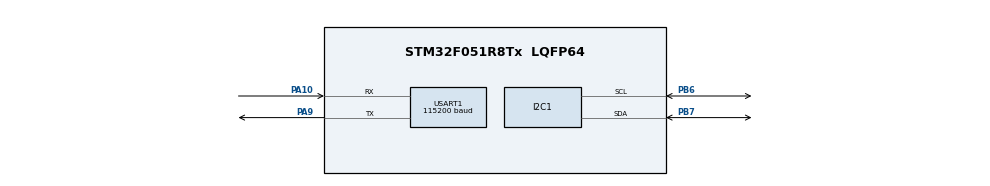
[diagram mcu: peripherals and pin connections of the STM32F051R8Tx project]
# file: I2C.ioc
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Mcu.Family=STM32F0
Mcu.Name=STM32F051R8Tx
Mcu.Package=LQFP64
PA10.Mode=Asynchronous
PA10.Signal=USART1_RX
PA13.Mode=Serial_Wire
PA13.Signal=SYS_SWDIO
PA14.Mode=Serial_Wire
PA14.Signal=SYS_SWCLK
PA9.Mode=Asynchronous
PA9.Signal=USART1_TX
PB6.Mode=I2C
PB6.Signal=I2C1_SCL
PB7.Mode=I2C
PB7.Signal=I2C1_SDA
ProjectManager.HeapSize=0x200
ProjectManager.StackSize=0x400
ProjectManager.TargetToolchain=STM32CubeIDE
USART1.BaudRate=115200
USART1.VirtualMode-Asynchronous=VM_ASYNC
board=custom

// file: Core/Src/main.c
/* USER CODE BEGIN Header */
/**
  ******************************************************************************
  * @file           : main.c
  * @brief          : Main program body
  ******************************************************************************
  * @attention
  *
  * Copyright (c) 2024 STMicroelectronics.
  * All rights reserved.
  *
  * This software is licensed under terms that can be found in the LICENSE file
  * in the root directory of this software component.
  * If no LICENSE file comes with this software, it is provided AS-IS.
  *
  ******************************************************************************
  */
/* USER CODE END Header */
#include "main.h"
#include "string.h"
#include <stdio.h>

I2C_HandleTypeDef hi2c1;

UART_HandleTypeDef huart1;

/* USER CODE BEGIN PV */
static const uint8_t ADT_ADDR1 = 0x48 << 1;
static const uint8_t ADT_ADDR2 = 0x49 << 1;
static const uint8_t ADT_ADDR3 = 0x4A << 1;
static const uint8_t ADT_ADDR4 = 0x4B << 1;
static const uint8_t REG_TEMP = 0x00;
/* USER CODE END PV */

void SystemClock_Config(void);
static void MX_GPIO_Init(void);
static void MX_I2C1_Init(void);
static void MX_USART1_UART_Init(void);

int main(void)
{
  /* USER CODE BEGIN 1 */
	HAL_StatusTypeDef ret;
	uint8_t buf1[48];
	uint8_t buf2[48];
	uint8_t buf3[48];
	uint8_t buf4[48];
	int16_t val;
	float temp_c;
  /* USER CODE END 1 */

  /* MCU Configuration--------------------------------------------------------*/

  /* Reset of all peripherals, Initializes the Flash interface and the Systick. */
  HAL_Init();

  /* Configure the system clock */
  SystemClock_Config();

  /* Initialize all configured peripherals */
  MX_GPIO_Init();
  MX_I2C1_Init();
  MX_USART1_UART_Init();

  /* Infinite loop */
  /* USER CODE BEGIN WHILE */
  while (1)
  {
	  /* SENSOR 1 CODE */
	  buf1[0] = REG_TEMP;
	  ret = HAL_I2C_Master_Transmit(&hi2c1, ADT_ADDR1, buf1, 1, HAL_MAX_DELAY);
	  if (ret != HAL_OK) {
		  strcpy((char*)buf1, "Error Tx\r\n");
	  } else {
		  ret = HAL_I2C_Master_Receive(&hi2c1, ADT_ADDR1, buf1, 2, HAL_MAX_DELAY);
		  if (ret != HAL_OK) {
		  		  strcpy((char*)buf1, "Error Rx\r\n");
		  } else {
			  val = ((int16_t)buf1[0] << 4 | buf1[1] >> 4);

			  if (val > 0x7FF) {
				  val |= 0xF000;
			  }

			  temp_c = val * 0.0625;

			  temp_c *= 100;
			  sprintf((char*)buf1, "ADT7410 Readings\r\n | 1: %u.%02uC |\r\n",
					  ((unsigned int)temp_c / 100),
					  ((unsigned int)temp_c %100));
		  }
	  }

	  /* SENSOR 2 CODE */
	  buf2[0] = REG_TEMP;
	  ret = HAL_I2C_Master_Transmit(&hi2c1, ADT_ADDR2, buf2, 1, HAL_MAX_DELAY);
	  if (ret != HAL_OK) {
		  strcpy((char*)buf2, "Error Tx\r\n");
	  } else {
		  ret = HAL_I2C_Master_Receive(&hi2c1, ADT_ADDR2, buf2, 2, HAL_MAX_DELAY);
		  if (ret != HAL_OK) {
				  strcpy((char*)buf2, "Error Rx\r\n");
		  } else {
			  val = ((int16_t)buf2[0] << 4 | buf2[1] >> 4);

			  if (val > 0x7FF) {
				  val |= 0xF000;
			  }

			  temp_c = val * 0.0625;

			  temp_c *= 100;
			  sprintf((char*)buf2, " | 2: %u.%02uC |\r\n",
					  ((unsigned int)temp_c / 100),
					  ((unsigned int)temp_c %100));
		  }
	  }

	  /* SENSOR 3 CODE */
	  buf3[0] = REG_TEMP;
	  ret = HAL_I2C_Master_Transmit(&hi2c1, ADT_ADDR3, buf3, 1, HAL_MAX_DELAY);
	  if (ret != HAL_OK) {
		  strcpy((char*)buf3, "Error Tx\r\n");
	  } else {
		  ret = HAL_I2C_Master_Receive(&hi2c1, ADT_ADDR3, buf3, 2, HAL_MAX_DELAY);
		  if (ret != HAL_OK) {
				  strcpy((char*)buf3, "Error Rx\r\n");
		  } else {
			  val = ((int16_t)buf3[0] << 4 | buf3[1] >> 4);

			  if (val > 0x7FF) {
				  val |= 0xF000;
			  }

			  temp_c = val * 0.0625;

			  temp_c *= 100;
			  sprintf((char*)buf3, " | 3: %u.%02uC |\r\n",
					  ((unsigned int)temp_c / 100),
					  ((unsigned int)temp_c %100));
		  }
	  }

	  /* SENSOR 4 CODE */
	  buf4[0] = REG_TEMP;
	  ret = HAL_I2C_Master_Transmit(&hi2c1, ADT_ADDR4, buf4, 1, HAL_MAX_DELAY);
	  if (ret != HAL_OK) {
		  strcpy((char*)buf4, "Error Tx\r\n");
	  } else {
		  ret = HAL_I2C_Master_Receive(&hi2c1, ADT_ADDR4, buf4, 2, HAL_MAX_DELAY);
		  if (ret != HAL_OK) {
				  strcpy((char*)buf4, "Error Rx\r\n");
		  } else {
			  val = ((int16_t)buf4[0] << 4 | buf4[1] >> 4);

			  if (val > 0x7FF) {
				  val |= 0xF000;
			  }

			  temp_c = val * 0.0625;

			  temp_c *= 100;
			  sprintf((char*)buf4, " | 4: %u.%02uC |\r\n\r\n",
					  ((unsigned int)temp_c / 100),
					  ((unsigned int)temp_c %100));
		  }
	  }

    /* USER CODE END WHILE */

    /* USER CODE BEGIN 3 */
	  HAL_UART_Transmit(&huart1, buf1, strlen((char*)buf1), HAL_MAX_DELAY);
	  HAL_UART_Transmit(&huart1, buf2, strlen((char*)buf2), HAL_MAX_DELAY);
	  HAL_UART_Transmit(&huart1, buf3, strlen((char*)buf3), HAL_MAX_DELAY);
	  HAL_UART_Transmit(&huart1, buf4, strlen((char*)buf4), HAL_MAX_DELAY);
	  HAL_Delay(500);
  }
  /* USER CODE END 3 */
}

void SystemClock_Config(void)
{
  RCC_OscInitTypeDef RCC_OscInitStruct = {0};
  RCC_ClkInitTypeDef RCC_ClkInitStruct = {0};
  RCC_PeriphCLKInitTypeDef PeriphClkInit = {0};

  /** Initializes the RCC Oscillators according to the specified parameters
  * in the RCC_OscInitTypeDef structure.
  */
  RCC_OscInitStruct.OscillatorType = RCC_OSCILLATORTYPE_HSI;
  RCC_OscInitStruct.HSIState = RCC_HSI_ON;
  RCC_OscInitStruct.HSICalibrationValue = RCC_HSICALIBRATION_DEFAULT;
  RCC_OscInitStruct.PLL.PLLState = RCC_PLL_NONE;
  if (HAL_RCC_OscConfig(&RCC_OscInitStruct) != HAL_OK)
  {
    Error_Handler();
  }

  /** Initializes the CPU, AHB and APB buses clocks
  */
  RCC_ClkInitStruct.ClockType = RCC_CLOCKTYPE_HCLK|RCC_CLOCKTYPE_SYSCLK
                              |RCC_CLOCKTYPE_PCLK1;
  RCC_ClkInitStruct.SYSCLKSource = RCC_SYSCLKSOURCE_HSI;
  RCC_ClkInitStruct.AHBCLKDivider = RCC_SYSCLK_DIV1;
  RCC_ClkInitStruct.APB1CLKDivider = RCC_HCLK_DIV1;

  if (HAL_RCC_ClockConfig(&RCC_ClkInitStruct, FLASH_LATENCY_0) != HAL_OK)
  {
    Error_Handler();
  }
  PeriphClkInit.PeriphClockSelection = RCC_PERIPHCLK_USART1|RCC_PERIPHCLK_I2C1;
  PeriphClkInit.Usart1ClockSelection = RCC_USART1CLKSOURCE_PCLK1;
  PeriphClkInit.I2c1ClockSelection = RCC_I2C1CLKSOURCE_HSI;
  if (HAL_RCCEx_PeriphCLKConfig(&PeriphClkInit) != HAL_OK)
  {
    Error_Handler();
  }
}

static void MX_I2C1_Init(void)
{

  hi2c1.Instance = I2C1;
  hi2c1.Init.Timing = 0x2000090E;
  hi2c1.Init.OwnAddress1 = 0;
  hi2c1.Init.AddressingMode = I2C_ADDRESSINGMODE_7BIT;
  hi2c1.Init.DualAddressMode = I2C_DUALADDRESS_DISABLE;
  hi2c1.Init.OwnAddress2 = 0;
  hi2c1.Init.OwnAddress2Masks = I2C_OA2_NOMASK;
  hi2c1.Init.GeneralCallMode = I2C_GENERALCALL_DISABLE;
  hi2c1.Init.NoStretchMode = I2C_NOSTRETCH_DISABLE;
  if (HAL_I2C_Init(&hi2c1) != HAL_OK)
  {
    Error_Handler();
  }

  /** Configure Analogue filter
  */
  if (HAL_I2CEx_ConfigAnalogFilter(&hi2c1, I2C_ANALOGFILTER_ENABLE) != HAL_OK)
  {
    Error_Handler();
  }

  /** Configure Digital filter
  */
  if (HAL_I2CEx_ConfigDigitalFilter(&hi2c1, 0) != HAL_OK)
  {
    Error_Handler();
  }

}

static void MX_USART1_UART_Init(void)
{

  huart1.Instance = USART1;
  huart1.Init.BaudRate = 115200;
  huart1.Init.WordLength = UART_WORDLENGTH_8B;
  huart1.Init.StopBits = UART_STOPBITS_1;
  huart1.Init.Parity = UART_PARITY_NONE;
  huart1.Init.Mode = UART_MODE_TX_RX;
  huart1.Init.HwFlowCtl = UART_HWCONTROL_NONE;
  huart1.Init.OverSampling = UART_OVERSAMPLING_16;
  huart1.Init.OneBitSampling = UART_ONE_BIT_SAMPLE_DISABLE;
  huart1.AdvancedInit.AdvFeatureInit = UART_ADVFEATURE_NO_INIT;
  if (HAL_UART_Init(&huart1) != HAL_OK)
  {
    Error_Handler();
  }

}

static void MX_GPIO_Init(void)
{

  /* GPIO Ports Clock Enable */
  __HAL_RCC_GPIOA_CLK_ENABLE();
  __HAL_RCC_GPIOB_CLK_ENABLE();

}

void Error_Handler(void)
{
  __disable_irq();
  while (1)
  {
  }
}
